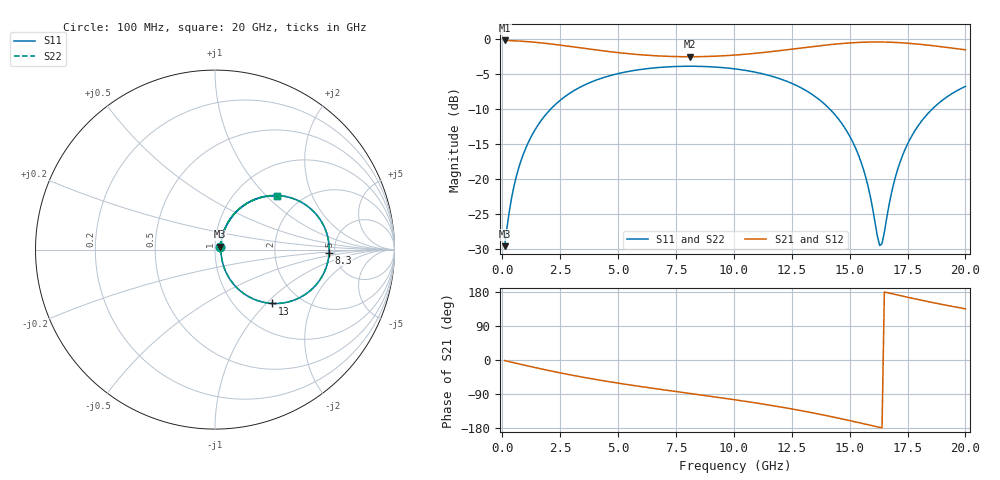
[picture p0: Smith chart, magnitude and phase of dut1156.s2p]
! Touchstone file exported from HFSS 2026.1.0
!  File:  C:/ffzhzh/LocalFiles/Ansys_Project_Files/temp_train_TSV_RDL_1156_1783311522_38704.aedt
!  Generated:  12:31:32 PM Jul  6, 2026
!  Design:  TSV_RDL
!  Project:  temp_train_TSV_RDL_1156_1783311522_38704
! Variables:
!  h_bsmrdl = 2.51um
!  h_ox = 20um
!  h_rdl = 5um
!  h_sub = 73.56um
!  h_tmrdl = 4.72um
!  h_tsv = 73.56um
!  h_via = 3um
!  l_bsmrdl = 521.06um
!  l_sub = 3713.99um
!  l_tmrdl = 416.89um
!  m_sub = 200um
!  pitch = 43.95um
!  r_tsv = 3.57um
!  s_tmrdl = 10um
!  w_bsmrdl = 15.45um
!  w_sub = 500um
!  w_tmrdl = 12.3um
!  x_tsv_center1 = 423.04um
!  x_tsv_center2 = 959.55um
!  x_tsv_center3 = 1388.74um
!  x_tsv_center4 = 1925.25um
!  x_tsv_center5 = 2354.44um
!  x_tsv_center6 = 2890.95um
# GHz S MA R 50.000000
! Terminal data exported
! Port[1] = TM_RDL1_1_T1
! Port[2] = TM_RDL5_1_T1
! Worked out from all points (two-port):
!   200 points, 100 MHz to 20 GHz, reference 50 ohm
!   highest |S21| = -0.25 dB at 100 MHz (marker M1); lowest = -2.6 dB at 8.1 GHz (marker M2)
!   |S21| within 3 dB of the highest: start of sweep to end of sweep
!   lowest |S11| = -29.5 dB at 100 MHz (marker M3), VSWR 1.07, Z = 53 + j1.73 ohm
!   |S11| at or under -10 dB: start of sweep to 2.099 GHz; 14.14 GHz to 18.57 GHz (4.439 GHz wide, 27.1 % of centre)
!   |S22| runs from -29.5 to -3.9 dB; largest |S21 - S12| = 1.6e-14
!   S11 on the Smith chart (normalised r, x): 100 MHz: 1.06, +0.03; 8.3 GHz: 4.48, -0.25; 13 GHz: 1.46, -1.08; 20 GHz: 1.53, +1.16
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0.1  0.03331 29.3  0.9712 -1.5  0.9712 -1.5  0.03331 29.3
! Gamma 0 0 0 0
! Port Impedance 50 0 50 0
0.5  0.08841 62.7  0.9662 -7.3  0.9662 -7.3  0.08841 62.7
1.2  0.1936 63.5  0.9496 -17.0  0.9496 -17.0  0.1936 63.5
2.2  0.3287 54.2  0.9127 -30.2  0.9127 -30.2  0.3287 54.2
3.5  0.4636 40.5  0.8548 -45.6  0.8548 -45.6  0.4636 40.5
5.2  0.5737 24.3  0.7893 -62.9  0.7893 -62.9  0.5737 24.3
6.8  0.6244 10.6  0.7528 -77.3  0.7528 -77.3  0.6244 10.6
8.1  0.6364 0.1  0.7438 -88.3  0.7438 -88.3  0.6364 0.1
8.3  0.6362 -1.5  0.744 -90.0  0.744 -90.0  0.6362 -1.5
10.1  0.6077 -16.3  0.7656 -105.5  0.7656 -105.5  0.6077 -16.2
13  0.438 -43.3  0.8622 -134.7  0.8622 -134.7  0.4379 -43.3
13.4  0.399 -47.4  0.8783 -139.4  0.8783 -139.4  0.3989 -47.4
14.4  0.2833 -57.5  0.9155 -151.9  0.9155 -151.9  0.2833 -57.5
15.2  0.1745 -63.6  0.9372 -162.6  0.9372 -162.6  0.1745 -63.6
15.8  0.08838 -60.6  0.9458 -170.8  0.9458 -170.8  0.08837 -60.5
16.3  0.03363 -8.3  0.9472 -177.8  0.9472 -177.8  0.03371 -8.2
16.4  0.03475 16.2  0.9468 -179.2  0.9468 -179.2  0.03484 16.3
16.7  0.0652 54.5  0.9443 176.6  0.9443 176.6  0.06527 54.5
17.2  0.1352 64.3  0.9359 169.7  0.9359 169.7  0.1352 64.2
17.9  0.2319 61.2  0.9166 160.3  0.9166 160.3  0.232 61.1
18.8  0.3421 52.8  0.883 148.9  0.883 148.9  0.3421 52.8
20  0.4573 40.9  0.8333 135.1  0.8333 135.1  0.4573 40.9
